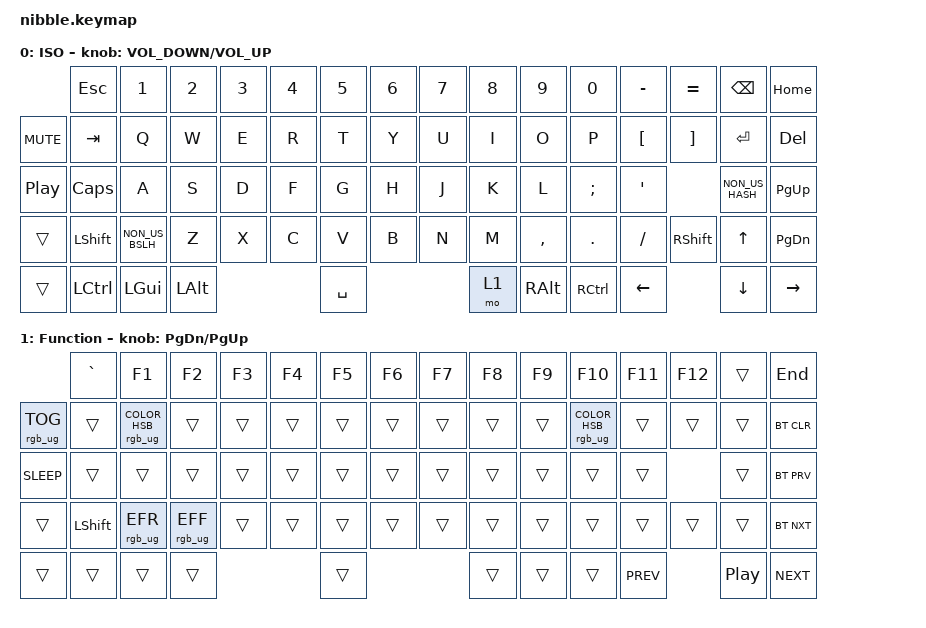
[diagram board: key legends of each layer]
/*
 * Copyright (c) 2020 The ZMK Contributors
 *
 * SPDX-License-Identifier: MIT
 */

#include <behaviors.dtsi>
#include <dt-bindings/zmk/keys.h>
#include <dt-bindings/zmk/bt.h>
#include <dt-bindings/zmk/rgb.h>
#include <dt-bindings/zmk/ext_power.h>
#include <../boards/shields/nibble/boards/nice_nano.overlay>


/ {
	sensors {
		compatible = "zmk,keymap-sensors";
		sensors = <&encoder_1>;
	};

	keymap {
		compatible = "zmk,keymap";

		default_layer {
			label = "ISO";

			sensor-bindings = <&inc_dec_kp C_VOLUME_DOWN C_VOLUME_UP>;

			bindings = <
            &kp ESC   &kp N1          &kp N2    &kp N3    &kp N4    &kp N5    &kp N6    &kp N7    &kp N8  &kp N9    &kp N0    &kp MINUS &kp EQUAL &kp BSPC        &kp HOME
&kp C_MUTE  &kp TAB   &kp Q           &kp W     &kp E     &kp R     &kp T     &kp Y     &kp U     &kp I   &kp O     &kp P     &kp LBKT  &kp RBKT  &kp ENTER       &kp DEL
&kp C_PP    &kp CLCK  &kp A           &kp S     &kp D     &kp F     &kp G     &kp H     &kp J     &kp K   &kp L     &kp SEMI  &kp SQT             &kp NON_US_HASH &kp PG_UP
&trans      &kp LSHFT &kp NON_US_BSLH &kp Z     &kp X     &kp C     &kp V     &kp B     &kp N     &kp M   &kp COMMA &kp DOT   &kp FSLH  &kp RSHFT &kp UP          &kp PG_DN
&trans      &kp LCTRL &kp LGUI        &kp LALT                      &kp SPACE                     &mo 1   &kp RALT  &kp RCTRL &kp LEFT            &kp DOWN        &kp RIGHT
			>;
		};
		function_layer {
			label = "Function";
			
			sensor-bindings = <&inc_dec_kp PG_DN PG_UP>;

			bindings = <
                 &kp GRAVE &kp F1    &kp F2                 &kp F3    &kp F4    &kp F5    &kp F6    &kp F7    &kp F8  &kp F9    &kp F10   &kp F11    &kp F12   &trans   &kp END
&rgb_ug RGB_TOG  &trans    &rgb_ug RGB_COLOR_HSB(271,0,100) &trans    &trans    &trans    &trans    &trans    &trans    &trans  &trans    &rgb_ug RGB_COLOR_HSB(271,100,100)      &trans    &trans    &trans   &bt BT_CLR
&kp C_SLEEP      &trans    &trans                           &trans    &trans    &trans    &trans    &trans    &trans    &trans  &trans    &trans    &trans              &trans    &bt BT_PRV
&trans           &kp LSHFT &rgb_ug RGB_EFR                  &rgb_ug RGB_EFF     &trans    &trans    &trans    &trans    &trans  &trans    &trans    &trans    &trans    &trans    &trans   &bt BT_NXT
&trans           &trans    &trans    &trans                        &trans                        &trans  &trans    &trans    &kp C_PREV          &kp C_PP &kp C_NEXT
			>;
		};
	};
};
